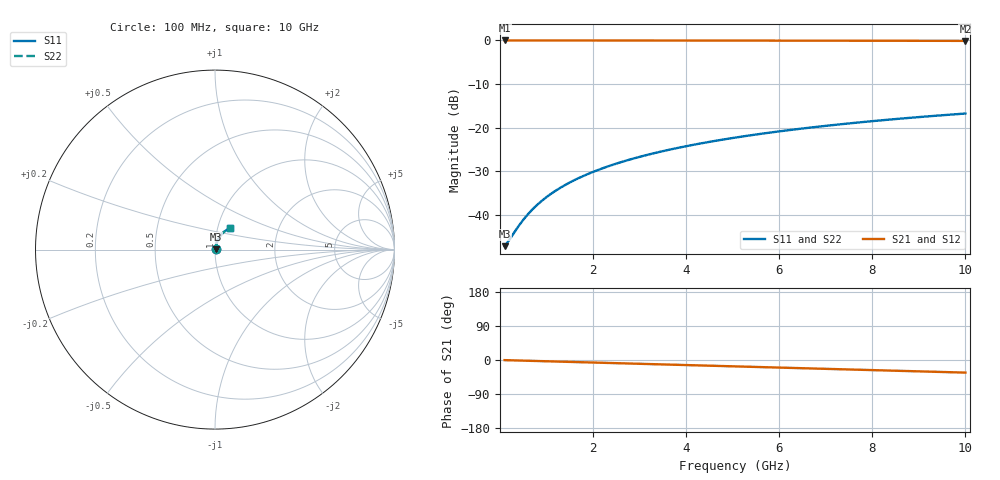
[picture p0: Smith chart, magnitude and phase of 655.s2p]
# Hz S RI R 50.00
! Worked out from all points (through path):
!   100 points, 100 MHz to 10 GHz, reference 50 ohm
!   highest |S21| = -0.04 dB at 100 MHz (marker M1); lowest = -0.1 dB at 10 GHz (marker M2)
!   group delay of S21, straight-line fit = 9.25 ps
!   lowest |S11| = -47.2 dB at 100 MHz (marker M3), VSWR 1.01, Z = 50.4 + j0.153 ohm
!   |S11| at or under -10 dB: start of sweep to end of sweep
!   |S22| runs from -47.2 to -16.8 dB; largest |S21 - S12| = 0
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1e8  0.00409 0.00152  0.9959 -0.0058  0.9959 -0.0058  0.00409 0.00152
2e8  0.00415 0.00303  0.9958 -0.0116  0.9958 -0.0116  0.00415 0.00303
4e8  0.00428 0.00606  0.9956 -0.0232  0.9956 -0.0232  0.00428 0.00606
5e8  0.00438 0.00757  0.9954 -0.029  0.9954 -0.029  0.00438 0.00757
6e8  0.00448 0.00908  0.9952 -0.0348  0.9952 -0.0348  0.00448 0.00908
7e8  0.00461 0.0106  0.9949 -0.0406  0.9949 -0.0406  0.00461 0.0106
8e8  0.00475 0.0121  0.9946 -0.0464  0.9946 -0.0464  0.00475 0.0121
1e9  0.00508 0.0151  0.994 -0.058  0.994 -0.058  0.00508 0.0151
1.2e9  0.00548 0.0181  0.9931 -0.0696  0.9931 -0.0696  0.00548 0.0181
1.5e9  0.00621 0.0226  0.9917 -0.0869  0.9917 -0.0869  0.00621 0.0226
1.8e9  0.0071 0.0271  0.9898 -0.1042  0.9898 -0.1042  0.0071 0.0271
2.1e9  0.00814 0.0315  0.9877 -0.1215  0.9877 -0.1215  0.00814 0.0315
2.5e9  0.00976 0.0373  0.9844 -0.1444  0.9844 -0.1444  0.00976 0.0373
2.9e9  0.0117 0.043  0.9805 -0.1673  0.9805 -0.1673  0.0117 0.043
3.4e9  0.0144 0.0501  0.9748 -0.1957  0.9748 -0.1957  0.0144 0.0501
4.2e9  0.0196 0.061  0.9639 -0.2406  0.9639 -0.2406  0.0196 0.061
5.1e9  0.0266 0.0726  0.9491 -0.2905  0.9491 -0.2905  0.0266 0.0726
5.9e9  0.0339 0.0822  0.9336 -0.3339  0.9336 -0.3339  0.0339 0.0822
6.7e9  0.042 0.0911  0.9161 -0.3765  0.9161 -0.3765  0.042 0.0911
7.5e9  0.0509 0.0992  0.8965 -0.4181  0.8965 -0.4181  0.0509 0.0992
8.4e9  0.0617 0.1073  0.8722 -0.4635  0.8722 -0.4635  0.0617 0.1073
1e10  0.0828 0.1186  0.8233 -0.5405  0.8233 -0.5405  0.0828 0.1186
